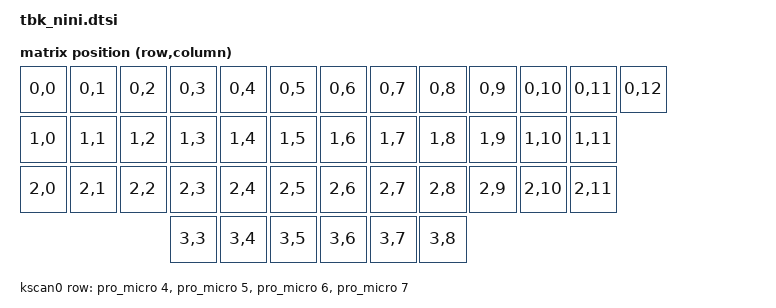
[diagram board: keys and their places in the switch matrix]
/*
 * Copyright (c) 2020 Pete Johanson
 *
 * SPDX-License-Identifier: MIT
 */

#include <dt-bindings/zmk/matrix_transform.h>

/ {
    chosen {
        zephyr,display = &oled;
        zmk,kscan = &kscan0;
        zmk,matrix_transform = &default_transform;
    };

    default_transform: matrix_transform {
        compatible = "zmk,matrix-transform";
        columns = <13>;
        rows = <4>;
// | SW1  | SW2  | SW3  | SW4  | SW5  | SW6  |   | SW6  | SW5  | SW4  | SW3  | SW2  | SW1  |
// | SW7  | SW8  | SW9  | SW10 | SW11 | SW12 |   | SW12 | SW11 | SW10 | SW9  | SW8  | SW7  |
// | SW13 | SW14 | SW15 | SW16 | SW17 | SW18 |   | SW18 | SW17 | SW16 | SW15 | SW14 | SW13 |
//                      | SW19 | SW20 | SW21 |   | SW21 | SW20 | SW19 |
        map = <
RC(0,0) RC(0,1) RC(0,2) RC(0,3) RC(0,4) RC(0,5)  RC(0,6) RC(0,7) RC(0,8) RC(0,9) RC(0,10) RC(0,11) RC(0,12)
RC(1,0) RC(1,1) RC(1,2) RC(1,3) RC(1,4) RC(1,5)  RC(1,6) RC(1,7) RC(1,8) RC(1,9) RC(1,10) RC(1,11)
RC(2,0) RC(2,1) RC(2,2) RC(2,3) RC(2,4) RC(2,5)  RC(2,6) RC(2,7) RC(2,8) RC(2,9) RC(2,10) RC(2,11)
                        RC(3,3) RC(3,4) RC(3,5)  RC(3,6) RC(3,7) RC(3,8)
        >;
    };


    kscan0: kscan {
        compatible = "zmk,kscan-gpio-matrix";
        wakeup-source;

        diode-direction = "col2row";
        row-gpios
            = <&pro_micro 4 (GPIO_ACTIVE_HIGH | GPIO_PULL_DOWN)>
            , <&pro_micro 5 (GPIO_ACTIVE_HIGH | GPIO_PULL_DOWN)>
            , <&pro_micro 6 (GPIO_ACTIVE_HIGH | GPIO_PULL_DOWN)>
            , <&pro_micro 7 (GPIO_ACTIVE_HIGH | GPIO_PULL_DOWN)>
            ;

    };

};

&spi0 {
    status = "disabled";

    moc_trackball: moc_trackball@0 {
        status = "disabled";
        compatible = "pixart,pmw3610";
        reg = <0>;
    };
};


/ {
    split_inputs {
        #address-cells = <1>;
        #size-cells = <0>;

        trackball_split: trackball@0 {
            compatible = "zmk,input-split";
            reg = <0>;
            device = <&moc_trackball>;
        };
        trackball_split1: trackball@1 {
            compatible = "zmk,input-split";
            reg = <1>;
            device = <&moc_trackball>;
        };
        trackball_split2: trackball@2 {
            compatible = "zmk,input-split";
            reg = <2>;
            device = <&moc_trackball>;
        };
    };

    trackball_listener: trackball_listener {
        compatible = "zmk,input-listener";
        status = "disabled";
        device = <&trackball_split>;
    };
};

&pro_micro_i2c {
    status = "okay";
    oled: sh1106@3c {
        compatible = "sinowealth,sh1106";
        reg = <0x3c>;
        width = <129>;
        height = <64>;
        segment-offset = <1>;
        page-offset = <0>;
        display-offset = <0>;
        multiplex-ratio = <63>;
        segment-remap;
        com-invdir;
        inversion-on;
        prechargep = <0x22>;
        };
};

